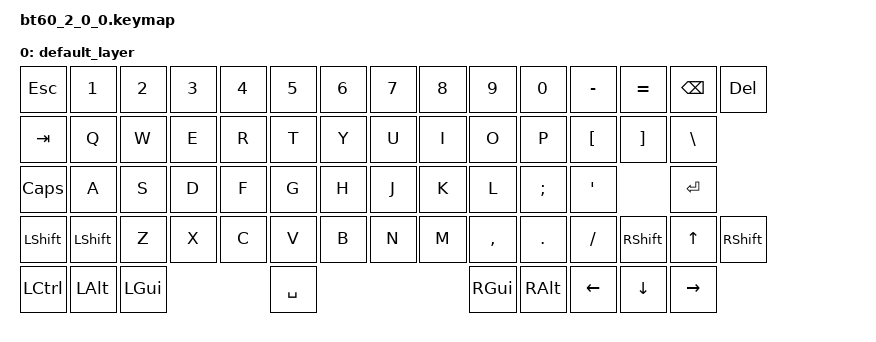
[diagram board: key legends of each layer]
#include <behaviors.dtsi>
#include <dt-bindings/zmk/keys.h>

/ {
  chosen {
    zmk,physical-layout = &layout_60_all1u;
  };

  keymap {
    compatible = "zmk,keymap";

    default_layer {
      // Simple single-layer Mac layout. No combos, hold-taps, macros, RGB, Bluetooth, or reset keys.
      bindings = <
        &kp ESC   &kp N1    &kp N2    &kp N3    &kp N4    &kp N5    &kp N6    &kp N7    &kp N8    &kp N9    &kp N0    &kp MINUS &kp EQUAL &kp BSPC  &kp DEL
        &kp TAB   &kp Q     &kp W     &kp E     &kp R     &kp T     &kp Y     &kp U     &kp I     &kp O     &kp P     &kp LBKT  &kp RBKT  &kp BSLH
        &kp CAPS  &kp A     &kp S     &kp D     &kp F     &kp G     &kp H     &kp J     &kp K     &kp L     &kp SEMI  &kp SQT             &kp RET
        &kp LSHFT &kp LSHFT &kp Z     &kp X     &kp C     &kp V     &kp B     &kp N     &kp M     &kp COMMA &kp DOT   &kp FSLH  &kp RSHFT &kp UP    &kp RSHFT
        &kp LCTRL &kp LALT  &kp LGUI                      &kp SPACE                                &kp RGUI  &kp RALT  &kp LEFT  &kp DOWN  &kp RIGHT
      >;
    };
  };
};
